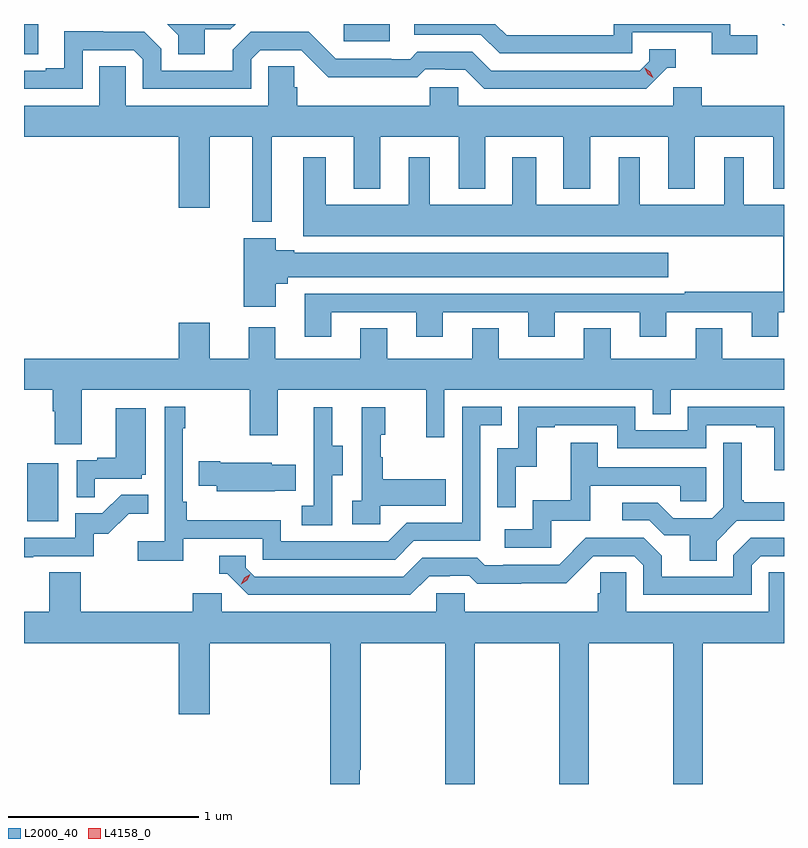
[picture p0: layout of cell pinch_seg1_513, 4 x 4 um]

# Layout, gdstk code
import gdstk
lib = gdstk.Library(unit=1e-6, precision=1e-09)
def R(c, l, rs):  # rectangles x0, y0, x1, y1
    for r in rs: c.add(gdstk.rectangle(r[:2], r[2:], *l))
def P(c, l, *ps):  # polygons
    for p in ps: c.add(gdstk.Polygon(p, *l))
L2000_40 = (2000, 40)
L4158_0 = (4158, 0)

pinch_seg1_513 = lib.new_cell('pinch_seg1_513')
R(pinch_seg1_513, L2000_40, [(1039.334,541.716,1039.498,542.023), (1039.318,544.174,1039.393,544.334), (1041,544.242,1041.244,544.334)])
P(pinch_seg1_513, L2000_40, [(1040.269,544.306),(1040.404,544.306),(1040.432,544.334),(1040.071,544.334),(1040.129,544.276),(1040.129,544.174),(1040.269,544.174)],
  [(1043.176,544.276),(1043.034,544.276),(1043.034,544.334),(1042.422,544.334),(1042.422,544.275),(1041.858,544.275),(1041.799,544.334),(1041.372,544.334),(1041.372,544.278),(1041.722,544.278),(1041.821,544.179),(1042.518,544.179),(1042.518,544.29),(1042.937,544.29),(1042.937,544.174),(1043.176,544.174)],
  [(1043.318,544.334),(1043.31,544.334),(1043.318,544.326)],
  [(1039.626,544.197),(1039.896,544.197),(1039.944,544.149),(1039.944,543.993),(1040.514,543.993),(1040.514,544.149),(1040.562,544.197),(1040.778,544.197),(1040.92,544.055),(1041.156,544.055),(1041.156,544.053),(1041.389,544.053),(1041.431,544.095),(1041.534,544.095),(1041.534,544.092),(1041.641,544.092),(1041.74,543.993),(1042.593,543.993),(1042.704,544.104),(1042.747,544.104),(1042.747,544.2),(1042.608,544.2),(1042.608,544.137),(1042.56,544.089),(1041.777,544.089),(1041.678,544.188),(1041.389,544.188),(1041.35,544.149),(1041.251,544.149),(1041.251,544.152),(1040.958,544.152),(1040.817,544.293),(1040.511,544.293),(1040.417,544.199),(1040.417,544.089),(1040.04,544.089),(1040.04,544.203),(1039.95,544.293),(1039.734,544.293),(1039.734,544.295),(1039.529,544.295),(1039.529,544.102),(1039.433,544.102),(1039.433,544.089),(1039.318,544.089),(1039.318,543.993),(1039.626,543.993)],
  [(1040.623,543.74),(1041.053,543.74),(1041.053,543.467),(1041.193,543.467),(1041.193,543.74),(1041.605,543.74),(1041.605,543.467),(1041.745,543.467),(1041.745,543.74),(1042.157,543.74),(1042.157,543.467),(1042.297,543.467),(1042.297,543.74),(1042.709,543.74),(1042.709,543.467),(1042.849,543.467),(1042.849,543.74),(1043.261,543.74),(1043.261,543.467),(1043.318,543.467),(1043.318,543.904),(1042.886,543.904),(1042.886,544.002),(1042.734,544.002),(1042.734,543.904),(1041.603,543.904),(1041.603,544.002),(1041.453,544.002),(1041.453,543.904),(1040.756,543.904),(1040.756,544.002),(1040.741,544.002),(1040.741,544.112),(1040.604,544.112),(1040.604,543.904),(1039.854,543.904),(1039.854,544.112),(1039.715,544.112),(1039.715,543.904),(1039.318,543.904),(1039.318,543.74),(1040.132,543.74),(1040.132,543.366),(1040.296,543.366),(1040.296,543.74),(1040.519,543.74),(1040.519,543.292),(1040.623,543.292)],
  [(1040.935,542.817),(1041.383,542.817),(1041.383,542.688),(1041.523,542.688),(1041.523,542.817),(1041.971,542.817),(1041.971,542.688),(1042.111,542.688),(1042.111,542.817),(1042.559,542.817),(1042.559,542.688),(1042.699,542.688),(1042.699,542.817),(1043.147,542.817),(1043.147,542.688),(1043.287,542.688),(1043.287,542.816),(1043.318,542.816),(1043.318,543.382),(1043.107,543.382),(1043.107,543.634),(1043.003,543.634),(1043.003,543.382),(1042.558,543.382),(1042.558,543.634),(1042.448,543.634),(1042.448,543.382),(1042.015,543.382),(1042.015,543.634),(1041.887,543.634),(1041.887,543.382),(1041.454,543.382),(1041.454,543.634),(1041.344,543.634),(1041.344,543.382),(1040.905,543.382),(1040.905,543.634),(1040.789,543.634),(1040.789,543.218),(1043.315,543.218),(1043.315,542.926),(1042.795,542.926),(1042.795,542.913),(1040.795,542.913),(1040.795,542.688),(1040.935,542.688)],
  [(1040.644,542.966),(1040.707,542.966),(1040.707,543.002),(1042.708,543.002),(1042.708,543.13),(1040.74,543.13),(1040.74,543.143),(1040.644,543.143),(1040.644,543.207),(1040.474,543.207),(1040.474,542.847),(1040.644,542.847)],
  [(1039.621,542.408),(1040.506,542.408),(1040.506,542.169),(1040.653,542.169),(1040.653,542.408),(1041.434,542.408),(1041.434,542.16),(1041.531,542.16),(1041.531,542.408),(1042.626,542.408),(1042.626,542.281),(1042.722,542.281),(1042.722,542.408),(1043.318,542.408),(1043.318,542.572),(1042.993,542.572),(1042.993,542.732),(1042.853,542.732),(1042.853,542.572),(1042.405,542.572),(1042.405,542.732),(1042.265,542.732),(1042.265,542.572),(1041.817,542.572),(1041.817,542.732),(1041.677,542.732),(1041.677,542.572),(1041.229,542.572),(1041.229,542.732),(1041.089,542.732),(1041.089,542.572),(1040.641,542.572),(1040.641,542.737),(1040.501,542.737),(1040.501,542.572),(1040.296,542.572),(1040.296,542.761),(1040.132,542.761),(1040.132,542.572),(1039.318,542.572),(1039.318,542.408),(1039.469,542.408),(1039.469,542.296),(1039.481,542.296),(1039.481,542.122),(1039.621,542.122)],
  [(1040.156,541.626),(1040.574,541.626),(1040.574,541.515),(1041.271,541.515),(1041.37,541.614),(1041.72,541.614),(1041.72,542.223),(1041.833,542.223),(1041.833,542.319),(1041.624,542.319),(1041.624,541.71),(1041.333,541.71),(1041.234,541.611),(1040.67,541.611),(1040.67,541.723),(1040.174,541.723),(1040.174,541.819),(1040.154,541.819),(1040.154,542.207),(1040.167,542.207),(1040.167,542.32),(1040.058,542.32),(1040.058,541.612),(1039.917,541.612),(1039.917,541.51),(1040.156,541.51)],
  [(1041.906,542.003),(1042.016,542.003),(1042.016,542.211),(1042.111,542.211),(1042.111,542.223),(1042.44,542.223),(1042.44,542.1),(1042.908,542.1),(1042.908,542.223),(1043.171,542.223),(1043.171,542.211),(1043.267,542.211),(1043.267,541.985),(1043.318,541.985),(1043.318,542.319),(1042.812,542.319),(1042.812,542.196),(1042.536,542.196),(1042.536,542.319),(1041.918,542.319),(1041.918,542.1),(1041.81,542.1),(1041.81,541.791),(1041.906,541.791)],
  [(1040.94,541.96),(1040.995,541.96),(1040.995,542.115),(1040.941,542.115),(1040.941,542.317),(1040.843,542.317),(1040.843,542.103),(1040.844,542.103),(1040.844,541.799),(1040.781,541.799),(1040.781,541.696),(1040.94,541.696)],
  [(1041.192,541.799),(1041.539,541.799),(1041.539,541.939),(1041.205,541.939),(1041.205,542.054),(1041.195,542.054),(1041.195,542.172),(1041.22,542.172),(1041.22,542.317),(1041.096,542.317),(1041.096,541.826),(1041.045,541.826),(1041.045,541.701),(1041.192,541.701)],
  [(1039.691,541.941),(1039.938,541.941),(1039.938,541.962),(1039.96,541.962),(1039.96,542.311),(1039.802,542.311),(1039.802,542.05),(1039.703,542.05),(1039.703,542.037),(1039.596,542.037),(1039.596,541.843),(1039.691,541.843)],
  [(1042.092,541.719),(1042.297,541.719),(1042.297,541.905),(1042.771,541.905),(1042.771,541.821),(1042.908,541.821),(1042.908,542.001),(1042.339,542.001),(1042.339,542.131),(1042.195,542.131),(1042.195,541.828),(1041.996,541.828),(1041.996,541.674),(1041.849,541.674),(1041.849,541.578),(1042.092,541.578)],
  [(1042.963,541.612),(1043.07,541.719),(1043.318,541.719),(1043.318,541.816),(1043.107,541.816),(1043.107,541.828),(1043.095,541.828),(1043.095,542.131),(1042.998,542.131),(1042.998,541.791),(1042.941,541.734),(1042.735,541.734),(1042.654,541.815),(1042.467,541.815),(1042.467,541.722),(1042.608,541.722),(1042.688,541.642),(1042.823,541.642),(1042.823,541.51),(1042.963,541.51)],
  [(1040.639,541.877),(1040.747,541.877),(1040.747,542.014),(1040.622,542.014),(1040.622,542.026),(1040.35,542.026),(1040.35,542.034),(1040.239,542.034),(1040.239,541.904),(1040.333,541.904),(1040.333,541.874),(1040.639,541.874)],
  [(1039.367,541.533),(1039.686,541.533),(1039.686,541.65),(1039.762,541.65),(1039.869,541.757),(1039.973,541.757),(1039.973,541.856),(1039.829,541.856),(1039.731,541.758),(1039.587,541.758),(1039.587,541.629),(1039.318,541.629),(1039.318,541.528),(1039.367,541.528)],
  [(1041.451,541.428),(1041.558,541.428),(1041.558,541.431),(1041.661,541.431),(1041.703,541.389),(1041.936,541.389),(1041.936,541.391),(1042.172,541.391),(1042.314,541.533),(1042.53,541.533),(1042.578,541.485),(1042.578,541.329),(1043.148,541.329),(1043.148,541.485),(1043.196,541.533),(1043.318,541.533),(1043.318,541.629),(1043.142,541.629),(1043.052,541.539),(1043.052,541.425),(1042.675,541.425),(1042.675,541.535),(1042.581,541.629),(1042.275,541.629),(1042.134,541.488),(1041.841,541.488),(1041.841,541.485),(1041.742,541.485),(1041.703,541.524),(1041.414,541.524),(1041.315,541.425),(1040.532,541.425),(1040.484,541.473),(1040.484,541.536),(1040.345,541.536),(1040.345,541.44),(1040.388,541.44),(1040.499,541.329),(1041.352,541.329)],
  [(1041.085,540.409),(1041.09,540.409),(1041.09,541.076),(1041.535,541.076),(1041.535,540.334),(1041.69,540.334),(1041.69,541.076),(1042.135,541.076),(1042.135,540.334),(1042.29,540.334),(1042.29,541.076),(1042.735,541.076),(1042.735,540.334),(1042.89,540.334),(1042.89,541.076),(1043.318,541.076),(1043.318,541.448),(1043.238,541.448),(1043.238,541.24),(1042.488,541.24),(1042.488,541.448),(1042.351,541.448),(1042.351,541.338),(1042.337,541.338),(1042.337,541.24),(1041.639,541.24),(1041.639,541.338),(1041.489,541.338),(1041.489,541.24),(1040.358,541.24),(1040.358,541.338),(1040.207,541.338),(1040.207,541.24),(1039.616,541.24),(1039.616,541.448),(1039.451,541.448),(1039.451,541.24),(1039.318,541.24),(1039.318,541.076),(1040.132,541.076),(1040.132,540.702),(1040.296,540.702),(1040.296,541.076),(1040.93,541.076),(1040.93,540.334),(1041.085,540.334)])
P(pinch_seg1_513, L4158_0, [(1042.631,544.051),(1042.6,544.07),(1042.584,544.103),(1042.584,544.103),(1042.584,544.103),(1042.615,544.084),(1042.631,544.052),(1042.631,544.051)],
  [(1040.462,541.386),(1040.462,541.386),(1040.478,541.419),(1040.508,541.438),(1040.509,541.438),(1040.509,541.438),(1040.493,541.406),(1040.462,541.386)])

lib.write_gds('pinch_seg1_513.gds')
